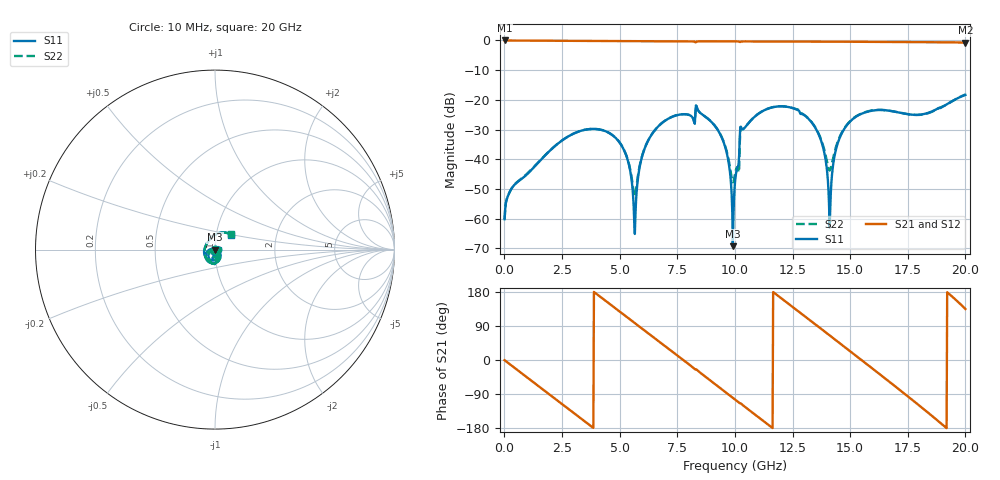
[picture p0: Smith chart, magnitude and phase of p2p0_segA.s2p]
! Stitch-density study - 40 x 12 mm symmetric stripline, cut at x=20 mm
! Case: p2p0_segA
! Sweep: 10 MHz - 20 GHz, 25 MHz step, 4 cores
# GHz S MA R 50.000000
! Terminal data exported
! Port[1] = U1.PAD1.SIG
! Port[2] = U2.PAD1.SIG
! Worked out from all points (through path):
!   801 points, 10 MHz to 20 GHz, reference 50 ohm
!   highest |S21| = -0.01 dB at 10 MHz (marker M1); lowest = -0.8 dB at 20 GHz (marker M2)
!   group delay of S21, straight-line fit = 130 ps
!   lowest |S11| = -69.2 dB at 9.91 GHz (marker M3), VSWR 1.00, Z = 50 + j0.0308 ohm
!   |S11| at or under -10 dB: start of sweep to end of sweep
!   |S22| runs from -60.1 to -18.2 dB; largest |S21 - S12| = 0
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0.01  0.0009846 26.4  0.9991 -0.5  0.9991 -0.5  0.0009846 26.4
1.76  0.01155 -5.1  0.9891 -81.9  0.9891 -81.9  0.01167 -7.5
3.36  0.0305 -67.0  0.983 -156.1  0.983 -156.1  0.03053 -67.7
5.01  0.01887 -141.0  0.9781 127.6  0.9781 127.6  0.01897 -137.1
5.66  0.0005549 -65.2  0.9763 97.5  0.9763 97.5  0.002348 -78.8
6.01  0.01246 -11.1  0.9752 81.2  0.9752 81.2  0.01268 -19.8
6.685  0.03612 -40.8  0.9727 49.9  0.9727 49.9  0.03621 -43.3
7.81  0.05739 -92.3  0.9684 -2.2  0.9684 -2.2  0.05748 -92.1
8.96  0.04339 -145.3  0.966 -55.2  0.966 -55.2  0.04358 -141.2
9.585  0.01587 -174.5  0.9652 -84.3  0.9652 -84.3  0.01641 -160.0
9.91  0.0003458 116.9  0.9642 -99.5  0.9642 -99.5  0.0041 -102.7
10.01  0.004368 -7.3  0.9637 -104.2  0.9637 -104.2  0.005809 -56.4
10.31  0.03237 -23.5  0.9599 -117.5  0.9599 -117.5  0.03206 -28.9
10.86  0.0521 -54.1  0.9607 -143.5  0.9607 -143.5  0.05232 -56.9
12.035  0.07792 -109.0  0.956 161.9  0.956 161.9  0.07818 -107.3
13.36  0.04033 -171.2  0.9548 100.2  0.9548 100.2  0.04085 -161.7
13.835  0.01541 164.6  0.9543 77.9  0.9543 77.9  0.01669 -169.1
14.11  0.0007103 79.3  0.9537 65.0  0.9537 65.0  0.006486 -115.5
14.81  0.03539 -58.3  0.9513 32.1  0.9513 32.1  0.03607 -65.6
16.685  0.06575 -151.1  0.9451 -56.6  0.9451 -56.6  0.06598 -142.4
18.685  0.06769 111.2  0.9371 -154.3  0.9371 -154.3  0.06686 117.6
20  0.1208 43.3  0.9164 134.5  0.9164 134.5  0.1234 45.5
